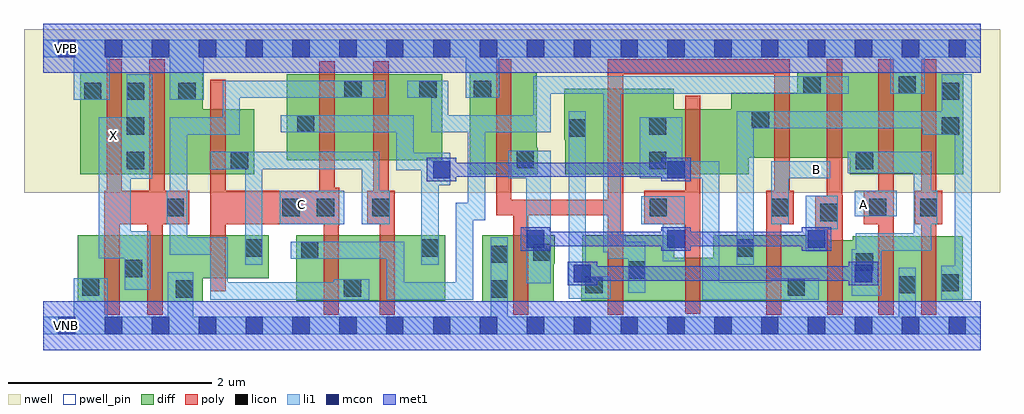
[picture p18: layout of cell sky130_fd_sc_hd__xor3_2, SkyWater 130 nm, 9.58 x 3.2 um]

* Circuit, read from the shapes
.subckt sky130_fd_sc_hd__xor3_2 A B C VGND VPB VPWR X
XM1 X n1 VGND VSUBS sky130_fd_pr__nfet_01v8 w=0.65 l=0.15 m=2
XM2 n2 C VGND VSUBS sky130_fd_pr__nfet_01v8 w=0.42 l=0.15
XM3 n1 C n3 VSUBS sky130_fd_pr__nfet_01v8 w=0.64 l=0.15
XM4 n4 n2 n1 VSUBS sky130_fd_pr__nfet_01v8 w=0.64 l=0.15
XM5 n5 B VGND VSUBS sky130_fd_pr__nfet_01v8 w=0.65 l=0.15
XM6 n3 B n6 VSUBS sky130_fd_pr__nfet_01v8 w=0.64 l=0.15
XM7 n7 n5 n3 VSUBS sky130_fd_pr__nfet_01v8 w=0.42 l=0.15
XM8 n4 B n7 VSUBS sky130_fd_pr__nfet_01v8 w=0.64 l=0.15
XM9 n6 n5 n4 VSUBS sky130_fd_pr__nfet_01v8 w=0.6 l=0.15
XM10 VGND A n6 VSUBS sky130_fd_pr__nfet_01v8 w=0.64 l=0.15
XM11 n7 n6 VGND VSUBS sky130_fd_pr__nfet_01v8 w=0.64 l=0.15
XM12 X n1 VPWR VPB sky130_fd_pr__pfet_01v8 w=1 l=0.15 m=2
XM13 n2 C VPWR VPB sky130_fd_pr__pfet_01v8 w=0.64 l=0.15
XM14 n1 C n4 VPB sky130_fd_pr__pfet_01v8 w=0.84 l=0.15
XM15 n3 n2 n1 VPB sky130_fd_pr__pfet_01v8 w=0.84 l=0.15
XM16 n5 B VPWR VPB sky130_fd_pr__pfet_01v8 w=1 l=0.15
XM17 n4 B n6 VPB sky130_fd_pr__pfet_01v8 w=0.84 l=0.15
XM18 n7 n5 n4 VPB sky130_fd_pr__pfet_01v8 w=0.64 l=0.15
XM19 n3 B n7 VPB sky130_fd_pr__pfet_01v8 w=0.64 l=0.15
XM20 n6 n5 n3 VPB sky130_fd_pr__pfet_01v8 w=0.84 l=0.15
XM21 VPWR A n6 VPB sky130_fd_pr__pfet_01v8 w=1 l=0.15
XM22 n7 n6 VPWR VPB sky130_fd_pr__pfet_01v8 w=1 l=0.15
.ends

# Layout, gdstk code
import gdstk
lib = gdstk.Library(unit=1e-6, precision=1e-09)
def R(c, l, rs):  # rectangles x0, y0, x1, y1
    for r in rs: c.add(gdstk.rectangle(r[:2], r[2:], *l))
def A(c, l, x, y, w, h, nx, ny, dx, dy):  # array of equal rectangles
    R(c, l, [(x+i*dx, y+j*dy, x+i*dx+w, y+j*dy+h) for i in range(nx) for j in range(ny)])
def P(c, l, *ps):  # polygons
    for p in ps: c.add(gdstk.Polygon(p, *l))
nwell = (64, 20)
diff = (65, 20)
poly = (66, 20)
licon = (66, 44)
li1 = (67, 20)
mcon = (67, 44)
met1 = (68, 20)
pwell_pin = (122, 16)

sky130_fd_sc_hd__xor3_2 = lib.new_cell('sky130_fd_sc_hd__xor3_2')
R(sky130_fd_sc_hd__xor3_2, nwell, [(-0.19,1.305,9.39,2.91)])
R(sky130_fd_sc_hd__xor3_2, diff, [(2.48,0.245,3.945,0.885), (2.39,1.625,3.915,2.465)])
P(sky130_fd_sc_hd__xor3_2, diff, [(5.02,0.885),(4.31,0.885),(4.31,0.235),(5.01,0.235),(5.01,0.605),(5.02,0.605)],
  [(9.025,0.875),(7.945,0.875),(7.945,0.835),(7.495,0.835),(7.495,0.885),(6.575,0.885),(6.575,0.665),(6.195,0.665),(6.195,0.885),(5.29,0.885),(5.29,0.525),(5.28,0.525),(5.28,0.245),(7.33,0.245),(7.33,0.235),(9.025,0.235)],
  [(9.03,2.485),(7.4,2.485),(7.4,2.285),(6.75,2.285),(6.75,2.125),(6.19,2.125),(6.19,2.325),(5.115,2.325),(5.115,1.825),(5.125,1.825),(5.125,1.485),(6.925,1.485),(6.925,1.645),(7.915,1.645),(7.915,1.485),(9.03,1.485)],
  [(2.21,0.885),(0.34,0.885),(0.34,0.235),(1.565,0.235),(1.565,0.465),(2.21,0.465)],
  [(2.07,2.125),(1.565,2.125),(1.565,2.485),(0.36,2.485),(0.36,1.485),(2.07,1.485)],
  [(4.855,1.745),(4.845,1.745),(4.845,2.485),(4.185,2.485),(4.185,1.485),(4.855,1.485)])
P(sky130_fd_sc_hd__xor3_2, poly, [(1.43,1.325),(1.19,1.325),(1.19,2.615),(1.04,2.615),(1.04,1.325),(0.77,1.325),(0.77,2.615),(0.62,2.615),(0.62,1.325),(0.6,1.325),(0.6,0.105),(0.75,0.105),(0.75,0.995),(1.02,0.995),(1.02,0.105),(1.17,0.105),(1.17,0.995),(1.43,0.995)],
  [(7.845,1.28),(7.84,1.28),(7.84,2.615),(7.69,2.615),(7.69,1.275),(7.575,1.275),(7.575,0.945),(7.695,0.945),(7.695,0.105),(7.845,0.105)],
  [(8.345,2.615),(8.195,2.615),(8.195,1.325),(8.055,1.325),(8.055,0.995),(8.195,0.995),(8.195,0.105),(8.345,0.105)],
  [(8.825,1.325),(8.765,1.325),(8.765,2.615),(8.615,2.615),(8.615,1.325),(8.555,1.325),(8.555,0.995),(8.615,0.995),(8.615,0.105),(8.765,0.105),(8.765,0.995),(8.825,0.995)],
  [(3.45,1.325),(3.39,1.325),(3.39,2.595),(3.24,2.595),(3.24,1.325),(3.18,1.325),(3.18,0.995),(3.3,0.995),(3.3,0.105),(3.45,0.105)],
  [(2.905,1.355),(2.86,1.355),(2.86,2.595),(2.71,2.595),(2.71,1.325),(1.79,1.325),(1.79,2.415),(1.64,2.415),(1.64,0.335),(1.79,0.335),(1.79,0.995),(2.75,0.995),(2.75,0.105),(2.9,0.105),(2.9,0.985),(2.905,0.985)],
  [(6.45,2.255),(6.3,2.255),(6.3,1.325),(5.9,1.325),(5.9,0.995),(6.3,0.995),(6.3,0.115),(6.45,0.115)],
  [(7.365,1.325),(7.325,1.325),(7.325,2.615),(5.54,2.615),(5.54,1.235),(4.595,1.235),(4.595,2.615),(4.445,2.615),(4.445,1.085),(4.61,1.085),(4.61,0.105),(4.76,0.105),(4.76,1.085),(5.54,1.085),(5.54,0.105),(5.69,0.105),(5.69,2.465),(7.175,2.465),(7.175,1.325),(7.095,1.325),(7.095,0.105),(7.245,0.105),(7.245,0.995),(7.365,0.995)])
A(sky130_fd_sc_hd__xor3_2, licon, 0.82, 1.535, 0.17, 0.17, 1, 3, 0, 0.34)
R(sky130_fd_sc_hd__xor3_2, licon, [(1.3,0.275,1.47,0.445), (4.39,0.275,4.56,0.445), (2.95,0.285,3.12,0.455), (0.38,0.295,0.55,0.465), (7.305,0.295,7.475,0.465), (5.32,0.315,5.49,0.485), (8.395,0.315,8.565,0.485), (8.815,0.335,8.985,0.505), (5.74,0.46,5.91,0.63), (0.8,0.475,0.97,0.645), (7.975,0.54,8.145,0.71), (4.39,0.615,4.56,0.785), (4.81,0.635,4.98,0.805), (2.53,0.655,2.7,0.825), (1.98,0.675,2.15,0.845), (3.71,0.675,3.88,0.845), (6.805,0.675,6.975,0.845), (7.625,1.025,7.795,1.195), (1.21,1.075,1.38,1.245), (2.345,1.075,2.515,1.245), (2.685,1.075,2.855,1.245), (3.23,1.075,3.4,1.245), (5.95,1.075,6.12,1.245), (7.145,1.075,7.315,1.245), (8.105,1.075,8.275,1.245), (8.605,1.075,8.775,1.245), (1.84,1.535,2.01,1.705), (5.945,1.535,6.115,1.705), (7.975,1.535,8.145,1.705), (4.645,1.545,4.815,1.715), (5.155,1.855,5.325,2.025), (5.945,1.875,6.115,2.045), (8.82,1.875,8.99,2.045), (2.49,1.895,2.66,2.065), (6.955,1.935,7.125,2.105), (0.4,2.215,0.57,2.385), (1.325,2.215,1.495,2.385), (8.82,2.215,8.99,2.385), (2.955,2.235,3.125,2.405), (3.69,2.235,3.86,2.405), (4.225,2.235,4.395,2.405), (7.46,2.275,7.63,2.445), (8.395,2.275,8.565,2.445)])
R(sky130_fd_sc_hd__xor3_2, li1, [(2.32,0.995,2.955,1.325), (7.965,1.075,8.375,1.325)])
P(sky130_fd_sc_hd__xor3_2, li1, [(8.775,1.325),(8.715,1.325),(8.715,1.705),(7.895,1.705),(7.895,1.495),(8.545,1.495),(8.545,0.905),(7.975,0.905),(7.975,0.75),(7.935,0.75),(7.935,0.295),(8.225,0.295),(8.225,0.735),(8.715,0.735),(8.715,0.995),(8.775,0.995)],
  [(9.115,2.465),(8.82,2.465),(8.82,2.105),(6.805,2.105),(6.805,0.595),(6.975,0.595),(6.975,1.935),(8.63,1.935),(8.63,1.875),(8.945,1.875),(8.945,0.585),(8.815,0.585),(8.815,0.255),(9.115,0.255)],
  [(9.2,2.805),(0,2.805),(0,2.635),(0.3,2.635),(0.3,2.215),(0.65,2.215),(0.65,2.635),(1.24,2.635),(1.24,2.215),(1.575,2.215),(1.575,2.635),(4.145,2.635),(4.145,2.235),(4.475,2.235),(4.475,2.635),(8.315,2.635),(8.315,2.275),(8.65,2.275),(8.65,2.635),(9.2,2.635)],
  [(9.2,0.085),(8.565,0.085),(8.565,0.565),(8.395,0.565),(8.395,0.085),(4.56,0.085),(4.56,0.865),(4.39,0.865),(4.39,0.085),(1.47,0.085),(1.47,0.525),(1.22,0.525),(1.22,0.085),(0.63,0.085),(0.63,0.465),(0.3,0.465),(0.3,0.085),(0,0.085),(0,-0.085),(9.2,-0.085)],
  [(1.07,2.465),(0.82,2.465),(0.82,2.045),(0.545,2.045),(0.545,0.66),(0.8,0.66),(0.8,0.35),(1.05,0.35),(1.05,0.925),(0.86,0.925),(0.86,1.44),(1.07,1.44)],
  [(4.98,1.715),(4.565,1.715),(4.565,1.445),(4.74,1.445),(4.74,0.415),(4.98,0.415)],
  [(3.995,1.695),(3.635,1.695),(3.635,2.065),(2.33,2.065),(2.33,1.895),(3.465,1.895),(3.465,1.525),(3.71,1.525),(3.71,0.595),(3.88,0.595),(3.88,1.375),(3.995,1.375)],
  [(3.355,2.405),(1.76,2.405),(1.76,2.045),(1.24,2.045),(1.24,1.325),(1.21,1.325),(1.21,0.995),(1.24,0.995),(1.24,0.695),(1.64,0.695),(1.64,0.255),(3.2,0.255),(3.2,0.455),(2.85,0.455),(2.85,0.425),(1.81,0.425),(1.81,0.865),(1.41,0.865),(1.41,1.875),(1.93,1.875),(1.93,2.235),(3.355,2.235)],
  [(5.57,0.485),(5.375,0.485),(5.375,0.595),(5.325,0.595),(5.325,2.105),(5.155,2.105),(5.155,0.265),(5.57,0.265)],
  [(3.4,1.325),(3.295,1.325),(3.295,1.705),(1.645,1.705),(1.645,1.535),(1.98,1.535),(1.98,0.595),(2.15,0.595),(2.15,1.535),(3.125,1.535),(3.125,0.995),(3.4,0.995)],
  [(6.295,1.27),(5.87,1.27),(5.87,0.995),(6.08,0.995),(6.08,0.63),(6.295,0.63)],
  [(7.61,0.465),(7.145,0.465),(7.145,0.425),(6.635,0.425),(6.635,1.615),(6.27,1.615),(6.27,2.045),(5.855,2.045),(5.855,1.445),(6.465,1.445),(6.465,0.255),(7.61,0.255)],
  [(7.725,1.615),(7.145,1.615),(7.145,0.995),(7.315,0.995),(7.315,1.445),(7.725,1.445)],
  [(7.795,1.275),(7.485,1.275),(7.485,0.73),(7.69,0.73),(7.69,0.945),(7.795,0.945)],
  [(7.905,2.445),(4.81,2.445),(4.81,2.065),(3.975,2.065),(3.975,2.405),(3.57,2.405),(3.57,2.235),(3.805,2.235),(3.805,1.895),(4.165,1.895),(4.165,1.205),(4.05,1.205),(4.05,0.425),(3.54,0.425),(3.54,0.825),(2.43,0.825),(2.43,0.655),(3.37,0.655),(3.37,0.255),(4.22,0.255),(4.22,1.035),(4.335,1.035),(4.335,1.895),(4.98,1.895),(4.98,2.275),(5.495,2.275),(5.495,0.72),(5.545,0.72),(5.545,0.655),(5.74,0.655),(5.74,0.32),(5.91,0.32),(5.91,0.825),(5.715,0.825),(5.715,0.89),(5.665,0.89),(5.665,2.275),(7.905,2.275)])
A(sky130_fd_sc_hd__xor3_2, mcon, 0.145, -0.085, 0.17, 0.17, 20, 2, 0.46, 2.72)
A(sky130_fd_sc_hd__xor3_2, mcon, 4.745, 0.765, 0.17, 0.17, 3, 1, 1.38, 0)
R(sky130_fd_sc_hd__xor3_2, mcon, [(5.205,0.425,5.375,0.595), (7.965,0.425,8.135,0.595), (3.825,1.445,3.995,1.615), (6.125,1.445,6.295,1.615)])
P(sky130_fd_sc_hd__xor3_2, met1, [(6.355,1.645),(6.065,1.645),(6.065,1.6),(4.055,1.6),(4.055,1.645),(3.765,1.645),(3.765,1.415),(4.055,1.415),(4.055,1.46),(6.065,1.46),(6.065,1.415),(6.355,1.415)],
  [(7.735,0.965),(7.445,0.965),(7.445,0.92),(6.355,0.92),(6.355,0.965),(6.065,0.965),(6.065,0.92),(4.975,0.92),(4.975,0.965),(4.685,0.965),(4.685,0.735),(4.975,0.735),(4.975,0.78),(6.065,0.78),(6.065,0.735),(6.355,0.735),(6.355,0.78),(7.445,0.78),(7.445,0.735),(7.735,0.735)],
  [(8.195,0.625),(7.905,0.625),(7.905,0.58),(5.435,0.58),(5.435,0.625),(5.145,0.625),(5.145,0.395),(5.435,0.395),(5.435,0.44),(7.905,0.44),(7.905,0.395),(8.195,0.395)])
R(sky130_fd_sc_hd__xor3_2, pwell_pin, [(0.145,-0.085,0.315,0.085)])
sky130_fd_sc_hd__xor3_2.add(gdstk.FlexPath([(0,2.72),(9.2,2.72)], 0.48, ends="flush", simple_path=True, layer=68, datatype=20))  # met1
sky130_fd_sc_hd__xor3_2.add(gdstk.FlexPath([(0,0),(9.2,0)], 0.48, ends="flush", simple_path=True, layer=68, datatype=20))  # met1
sky130_fd_sc_hd__xor3_2.add(gdstk.Label('X', (0.69,1.87), layer=67, texttype=5))
sky130_fd_sc_hd__xor3_2.add(gdstk.Label('C', (2.53,1.19), layer=67, texttype=5))
sky130_fd_sc_hd__xor3_2.add(gdstk.Label('B', (7.59,1.53), layer=67, texttype=5))
sky130_fd_sc_hd__xor3_2.add(gdstk.Label('A', (8.05,1.19), layer=67, texttype=5))
sky130_fd_sc_hd__xor3_2.add(gdstk.Label('VNB', (0.23,0), layer=122, texttype=16))
sky130_fd_sc_hd__xor3_2.add(gdstk.Label('VPB', (0.23,2.72), layer=64, texttype=5))
sky130_fd_sc_hd__xor3_2.add(gdstk.Label('VGND', (0.23,0), layer=68, texttype=5))
sky130_fd_sc_hd__xor3_2.add(gdstk.Label('VPWR', (0.23,2.72), layer=68, texttype=5))

lib.write_gds('sky130_fd_sc_hd__xor3_2.gds')
